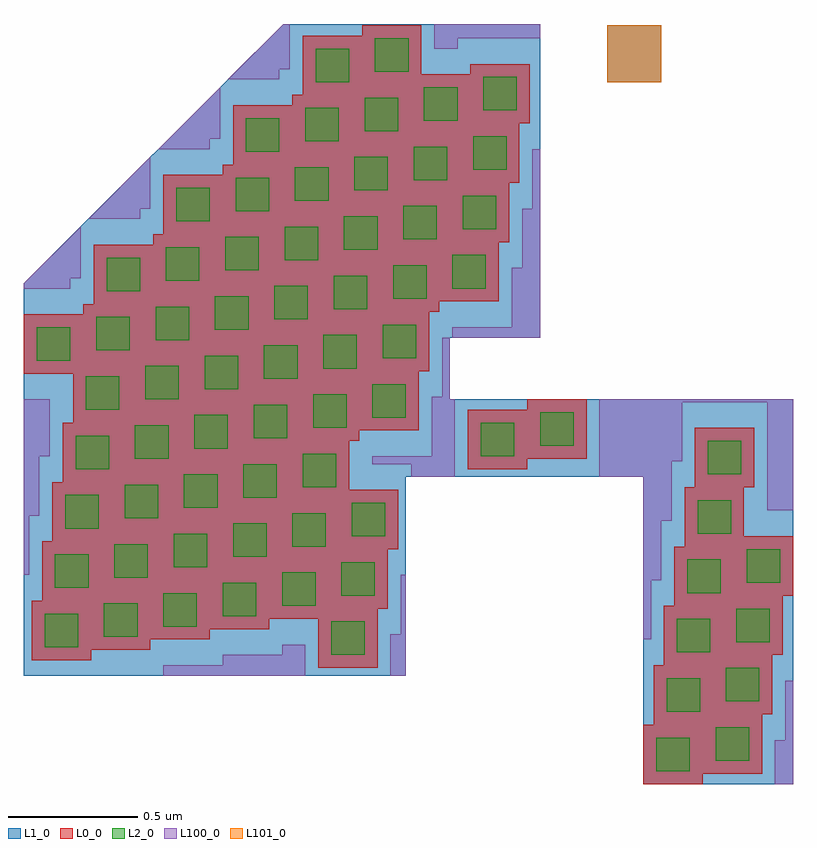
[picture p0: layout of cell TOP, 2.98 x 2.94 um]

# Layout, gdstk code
import gdstk
lib = gdstk.Library(unit=1e-6, precision=1e-09)
def R(c, l, rs):  # rectangles x0, y0, x1, y1
    for r in rs: c.add(gdstk.rectangle(r[:2], r[2:], *l))
def P(c, l, *ps):  # polygons
    for p in ps: c.add(gdstk.Polygon(p, *l))
L0_0 = (0, 0)
L1_0 = (1, 0)
L2_0 = (2, 0)
L100_0 = (100, 0)
L101_0 = (101, 0)

fill_cell = lib.new_cell('FILL_CELL')
R(fill_cell, L0_0, [(-0.1,-0.13,0.13,0.1)])
R(fill_cell, L2_0, [(-0.05,-0.08,0.08,0.05)])

top = lib.new_cell('TOP')
R(top, L1_0, [(1.76,1.79,1.97,2.01)])
P(top, L1_0, [(1.9,-0.93),(1.9,0.26),(0.98,0.26),(0.98,-0.51),(-0.5,-0.51),(-0.5,1.01),(0.505,2.015),(1.5,2.015),(1.5,0.8),(1.15,0.8),(1.15,0.56),(2.48,0.56),(2.48,-0.93)])
P(top, L100_0, [(2.41,-0.93),(2.41,-0.76),(2.45,-0.76),(2.45,-0.53),(2.48,-0.53),(2.48,-0.93)],
  [(0.04,-0.51),(0.04,-0.47),(0.27,-0.47),(0.27,-0.43),(0.5,-0.43),(0.5,-0.39),(0.59,-0.39),(0.59,-0.51)],
  [(0.92,-0.51),(0.92,-0.35),(0.96,-0.35),(0.96,-0.12),(0.98,-0.12),(0.98,-0.51)],
  [(-0.5,-0.12),(-0.5,0.56),(-0.4,0.56),(-0.4,0.34),(-0.44,0.34),(-0.44,0.11),(-0.48,0.11),(-0.48,-0.12)],
  [(1.9,-0.37),(1.9,0.26),(1.73,0.26),(1.73,0.56),(2.48,0.56),(2.48,0.13),(2.38,0.13),(2.38,0.55),(2.05,0.55),(2.05,0.32),(2.01,0.32),(2.01,0.09),(1.97,0.09),(1.97,-0.14),(1.93,-0.14),(1.93,-0.37)],
  [(1,0.26),(1,0.31),(0.85,0.31),(0.85,0.34),(1.08,0.34),(1.08,0.57),(1.12,0.57),(1.12,0.8),(1.15,0.8),(1.15,0.56),(1.17,0.56),(1.17,0.26)],
  [(-0.5,0.99),(-0.5,1.01),(-0.28,1.23),(-0.28,1.03),(-0.32,1.03),(-0.32,0.99)],
  [(-0.25,1.26),(-0.01,1.5),(-0.01,1.3),(-0.05,1.3),(-0.05,1.26)],
  [(1.16,0.8),(1.16,0.84),(1.39,0.84),(1.39,1.07),(1.43,1.07),(1.43,1.3),(1.47,1.3),(1.47,1.53),(1.5,1.53),(1.5,0.8)],
  [(0.02,1.53),(0.26,1.77),(0.26,1.57),(0.22,1.57),(0.22,1.53)],
  [(0.29,1.8),(0.505,2.015),(0.53,2.015),(0.53,1.84),(0.49,1.84),(0.49,1.8)],
  [(1.09,1.92),(1.09,2.015),(1.5,2.015),(1.5,1.96),(1.18,1.96),(1.18,1.92)])
R(top, L101_0, [(1.76,1.79,1.97,2.01)])
top.add(gdstk.Reference(fill_cell, (2,-0.8)))
top.add(gdstk.Reference(fill_cell, (2.23,-0.76)))
top.add(gdstk.Reference(fill_cell, (2.04,-0.57)))
top.add(gdstk.Reference(fill_cell, (2.27,-0.53)))
top.add(gdstk.Reference(fill_cell, (0.74,-0.35)))
top.add(gdstk.Reference(fill_cell, (2.08,-0.34)))
top.add(gdstk.Reference(fill_cell, (-0.37,-0.32)))
top.add(gdstk.Reference(fill_cell, (2.31,-0.3)))
top.add(gdstk.Reference(fill_cell, (-0.14,-0.28)))
top.add(gdstk.Reference(fill_cell, (0.09,-0.24)))
top.add(gdstk.Reference(fill_cell, (0.32,-0.2)))
top.add(gdstk.Reference(fill_cell, (0.55,-0.16)))
top.add(gdstk.Reference(fill_cell, (0.78,-0.12)))
top.add(gdstk.Reference(fill_cell, (2.12,-0.11)))
top.add(gdstk.Reference(fill_cell, (-0.33,-0.09)))
top.add(gdstk.Reference(fill_cell, (2.35,-0.07)))
top.add(gdstk.Reference(fill_cell, (-0.1,-0.05)))
top.add(gdstk.Reference(fill_cell, (0.13,-0.01)))
top.add(gdstk.Reference(fill_cell, (0.36,0.03)))
top.add(gdstk.Reference(fill_cell, (0.59,0.07)))
top.add(gdstk.Reference(fill_cell, (0.82,0.11)))
top.add(gdstk.Reference(fill_cell, (2.16,0.12)))
top.add(gdstk.Reference(fill_cell, (-0.29,0.14)))
top.add(gdstk.Reference(fill_cell, (-0.06,0.18)))
top.add(gdstk.Reference(fill_cell, (0.17,0.22)))
top.add(gdstk.Reference(fill_cell, (0.4,0.26)))
top.add(gdstk.Reference(fill_cell, (0.63,0.3)))
top.add(gdstk.Reference(fill_cell, (2.2,0.35)))
top.add(gdstk.Reference(fill_cell, (-0.25,0.37)))
top.add(gdstk.Reference(fill_cell, (-0.02,0.41)))
top.add(gdstk.Reference(fill_cell, (1.32,0.42)))
top.add(gdstk.Reference(fill_cell, (0.21,0.45)))
top.add(gdstk.Reference(fill_cell, (1.55,0.46)))
top.add(gdstk.Reference(fill_cell, (0.44,0.49)))
top.add(gdstk.Reference(fill_cell, (0.67,0.53)))
top.add(gdstk.Reference(fill_cell, (0.9,0.57)))
top.add(gdstk.Reference(fill_cell, (-0.21,0.6)))
top.add(gdstk.Reference(fill_cell, (0.02,0.64)))
top.add(gdstk.Reference(fill_cell, (0.25,0.68)))
top.add(gdstk.Reference(fill_cell, (0.48,0.72)))
top.add(gdstk.Reference(fill_cell, (0.71,0.76)))
top.add(gdstk.Reference(fill_cell, (-0.4,0.79)))
top.add(gdstk.Reference(fill_cell, (0.94,0.8)))
top.add(gdstk.Reference(fill_cell, (-0.17,0.83)))
top.add(gdstk.Reference(fill_cell, (0.06,0.87)))
top.add(gdstk.Reference(fill_cell, (0.29,0.91)))
top.add(gdstk.Reference(fill_cell, (0.52,0.95)))
top.add(gdstk.Reference(fill_cell, (0.75,0.99)))
top.add(gdstk.Reference(fill_cell, (0.98,1.03)))
top.add(gdstk.Reference(fill_cell, (-0.13,1.06)))
top.add(gdstk.Reference(fill_cell, (1.21,1.07)))
top.add(gdstk.Reference(fill_cell, (0.1,1.1)))
top.add(gdstk.Reference(fill_cell, (0.33,1.14)))
top.add(gdstk.Reference(fill_cell, (0.56,1.18)))
top.add(gdstk.Reference(fill_cell, (0.79,1.22)))
top.add(gdstk.Reference(fill_cell, (1.02,1.26)))
top.add(gdstk.Reference(fill_cell, (1.25,1.3)))
top.add(gdstk.Reference(fill_cell, (0.14,1.33)))
top.add(gdstk.Reference(fill_cell, (0.37,1.37)))
top.add(gdstk.Reference(fill_cell, (0.6,1.41)))
top.add(gdstk.Reference(fill_cell, (0.83,1.45)))
top.add(gdstk.Reference(fill_cell, (1.06,1.49)))
top.add(gdstk.Reference(fill_cell, (1.29,1.53)))
top.add(gdstk.Reference(fill_cell, (0.41,1.6)))
top.add(gdstk.Reference(fill_cell, (0.64,1.64)))
top.add(gdstk.Reference(fill_cell, (0.87,1.68)))
top.add(gdstk.Reference(fill_cell, (1.1,1.72)))
top.add(gdstk.Reference(fill_cell, (1.33,1.76)))
top.add(gdstk.Reference(fill_cell, (0.68,1.87)))
top.add(gdstk.Reference(fill_cell, (0.91,1.91)))

lib.write_gds('TOP.gds')
